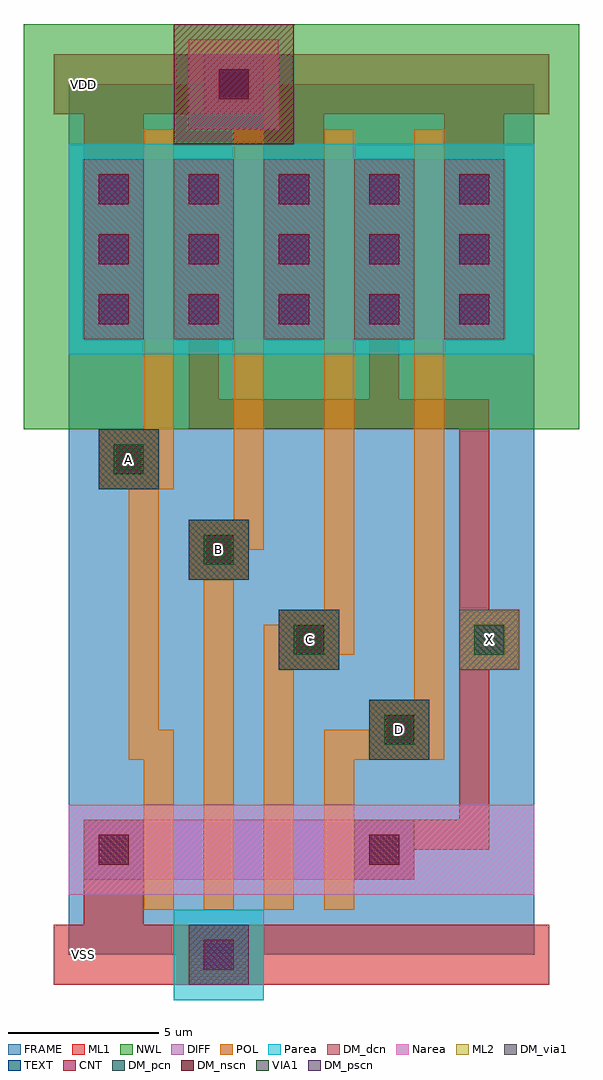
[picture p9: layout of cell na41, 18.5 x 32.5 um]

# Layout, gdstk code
import gdstk
lib = gdstk.Library(unit=1e-6, precision=1e-09)
def R(c, l, rs):  # rectangles x0, y0, x1, y1
    for r in rs: c.add(gdstk.rectangle(r[:2], r[2:], *l))
NWL = (1, 0)
DIFF = (3, 0)
POL = (5, 0)
CNT = (7, 0)
ML1 = (8, 0)
VIA1 = (9, 0)
ML2 = (10, 0)
TEXT = (13, 0)
FRAME = (14, 0)
Parea = (18, 0)
Narea = (19, 0)
DM_dcn = (101, 0)
DM_pcn = (102, 0)
DM_nscn = (103, 0)
DM_pscn = (104, 0)
DM_via1 = (105, 0)

dcont = lib.new_cell('dcont')
R(dcont, DIFF, [(-1,-1,1,1)])
R(dcont, CNT, [(-0.5,-0.5,0.5,0.5)])
R(dcont, ML1, [(-1,-1,1,1)])
R(dcont, TEXT, [(-0.5,-0.5,0.5,0.5)])
R(dcont, DM_dcn, [(-1,-1,1,1)])
dcont.add(gdstk.Label('dcont', (0,0), layer=13, texttype=0))

pcont = lib.new_cell('pcont')
R(pcont, POL, [(-1,-1,1,1)])
R(pcont, CNT, [(-0.5,-0.5,0.5,0.5)])
R(pcont, ML1, [(-1,-1,1,1)])
R(pcont, DM_pcn, [(-1,-1,1,1)])
pcont.add(gdstk.Label('pcont', (0,0), layer=13, texttype=0))

nsubcont = lib.new_cell('nsubcont')
R(nsubcont, NWL, [(-2,-2,2,2)])
R(nsubcont, Narea, [(-1.5,-1.5,1.5,1.5)])
R(nsubcont, DM_nscn, [(-2,-2,2,2)])
nsubcont.add(gdstk.Reference(dcont, (0,0)))
nsubcont.add(gdstk.Label('NScont', (0,0), layer=13, texttype=0))

via = lib.new_cell('Via')
R(via, ML1, [(-1,-1,1,1)])
R(via, VIA1, [(-0.5,-0.5,0.5,0.5)])
R(via, ML2, [(-1,-1,1,1)])
R(via, TEXT, [(-0.5,-0.5,0.5,0.5)])
R(via, DM_via1, [(-1,-1,1,1)])
via.add(gdstk.Label('via', (0,0), layer=13, texttype=0))

psubcont = lib.new_cell('psubcont')
R(psubcont, Parea, [(-1.5,-1.5,1.5,1.5)])
R(psubcont, DM_pscn, [(-1,-1,1,1)])
psubcont.add(gdstk.Reference(dcont, (0,0)))
psubcont.add(gdstk.Label('PScon', (0,0), layer=13, texttype=0))

na41 = lib.new_cell('na41')
R(na41, NWL, [(-1.5,17.5,17,31)])
R(na41, DIFF, [(0.5,2.5,11.5,4.5), (0.5,20.5,14.5,26.5)])
R(na41, ML1, [(-0.5,-1,16,1), (10,6.5,12,8.5), (7,9.5,9,11.5), (13,9.5,15,11.5), (4,12.5,6,14.5), (1,15.5,3,17.5), (-0.5,28,16,30)])
R(na41, ML2, [(10,6.5,12,8.5), (7,9.5,9,11.5), (13,9.5,15,11.5), (4,12.5,6,14.5), (1,15.5,3,17.5)])
R(na41, FRAME, [(0,0,15.5,29)])
R(na41, Parea, [(0,20,15.5,27)])
R(na41, Narea, [(0,2,15.5,5)])
R(na41, DM_via1, [(10,6.5,12,8.5), (7,9.5,9,11.5), (13,9.5,15,11.5), (4,12.5,6,14.5), (1,15.5,3,17.5)])
na41.add(gdstk.FlexPath([(3,27),(3,16),(2.5,16),(2.5,7),(3,7),(3,2)], 1, ends="extended", simple_path=True, layer=5, datatype=0))  # POL
na41.add(gdstk.FlexPath([(6,27),(6,14),(5.5,14),(5.5,13),(5,13),(5,2)], 1, ends="extended", simple_path=True, layer=5, datatype=0))  # POL
na41.add(gdstk.FlexPath([(9,27),(9,10.5),(7,10.5),(7,2)], 1, ends="extended", simple_path=True, layer=5, datatype=0))  # POL
na41.add(gdstk.FlexPath([(9,2),(9,7),(12,7),(12,27)], 1, ends="extended", simple_path=True, layer=5, datatype=0))  # POL
na41.add(gdstk.FlexPath([(1.5,21.5),(1.5,28.5)], 2, ends="extended", simple_path=True, layer=8, datatype=0))  # ML1
na41.add(gdstk.FlexPath([(1.5,1),(1.5,3.5)], 2, ends="extended", simple_path=True, layer=8, datatype=0))  # ML1
na41.add(gdstk.FlexPath([(4.5,22.3),(4.5,25.5)], 1.4, ends="extended", simple_path=True, layer=8, datatype=0))  # ML1
na41.add(gdstk.FlexPath([(7.5,21.5),(7.5,28.5)], 2, ends="extended", simple_path=True, layer=8, datatype=0))  # ML1
na41.add(gdstk.FlexPath([(4.5,20.5),(4.5,18),(13.5,18),(13.5,4),(10.6,4)], 1, ends="extended", simple_path=True, layer=8, datatype=0))  # ML1
na41.add(gdstk.FlexPath([(10.5,20.5),(10.5,18)], 1, ends="extended", simple_path=True, layer=8, datatype=0))  # ML1
na41.add(gdstk.FlexPath([(10.5,22.3),(10.5,25.5)], 1.4, ends="extended", simple_path=True, layer=8, datatype=0))  # ML1
na41.add(gdstk.FlexPath([(13.5,21.5),(13.5,28.5)], 2, ends="extended", simple_path=True, layer=8, datatype=0))  # ML1
na41.add(gdstk.FlexPath([(13.5,22.3),(13.5,25.5)], 1.4, ends="extended", simple_path=True, layer=8, datatype=0))  # ML1
na41.add(gdstk.Reference(dcont, (7.5,25.5)))
na41.add(gdstk.Reference(dcont, (10.5,21.5)))
na41.add(gdstk.Reference(dcont, (10.5,25.5)))
na41.add(gdstk.Reference(dcont, (13.5,25.5)))
na41.add(gdstk.Reference(dcont, (1.5,25.5)))
na41.add(gdstk.Reference(dcont, (10.5,3.5)))
na41.add(gdstk.Reference(pcont, (11,7.5)))
na41.add(gdstk.Reference(nsubcont, (5.5,29)))
na41.add(gdstk.Reference(dcont, (1.5,21.5)))
na41.add(gdstk.Reference(via, (5,13.5)))
na41.add(gdstk.Reference(dcont, (7.5,21.5)))
na41.add(gdstk.Reference(via, (11,7.5)))
na41.add(gdstk.Reference(dcont, (4.5,23.5)))
na41.add(gdstk.Reference(dcont, (13.5,21.5)))
na41.add(gdstk.Reference(dcont, (1.5,3.5)))
na41.add(gdstk.Reference(psubcont, (5,0)))
na41.add(gdstk.Reference(dcont, (10.5,23.5)))
na41.add(gdstk.Reference(dcont, (13.5,23.5)))
na41.add(gdstk.Reference(via, (2,16.5)))
na41.add(gdstk.Reference(dcont, (4.5,21.5)))
na41.add(gdstk.Reference(dcont, (7.5,23.5)))
na41.add(gdstk.Reference(via, (14,10.5)))
na41.add(gdstk.Reference(pcont, (5,13.5)))
na41.add(gdstk.Reference(dcont, (1.5,23.5)))
na41.add(gdstk.Reference(dcont, (4.5,25.5)))
na41.add(gdstk.Reference(via, (8,10.5)))
na41.add(gdstk.Reference(pcont, (2,16.5)))
na41.add(gdstk.Reference(pcont, (8,10.5)))
na41.add(gdstk.Label('VDD', (0.5,29), layer=8, texttype=0))
na41.add(gdstk.Label('VSS', (0.5,0), layer=8, texttype=0))
na41.add(gdstk.Label('A', (2,16.5), layer=10, texttype=0))
na41.add(gdstk.Label('B', (5,13.5), layer=10, texttype=0))
na41.add(gdstk.Label('C', (8,10.5), layer=10, texttype=0))
na41.add(gdstk.Label('D', (11,7.5), layer=10, texttype=0))
na41.add(gdstk.Label('X', (14,10.5), layer=10, texttype=0))
na41.add(gdstk.Label('via', (14,10.5), layer=13, texttype=0))
na41.add(gdstk.Label('via', (11,7.5), layer=13, texttype=0))
na41.add(gdstk.Label('via', (8,10.5), layer=13, texttype=0))
na41.add(gdstk.Label('via', (5,13.5), layer=13, texttype=0))
na41.add(gdstk.Label('via', (2,16.5), layer=13, texttype=0))

lib.write_gds('na41.gds')
